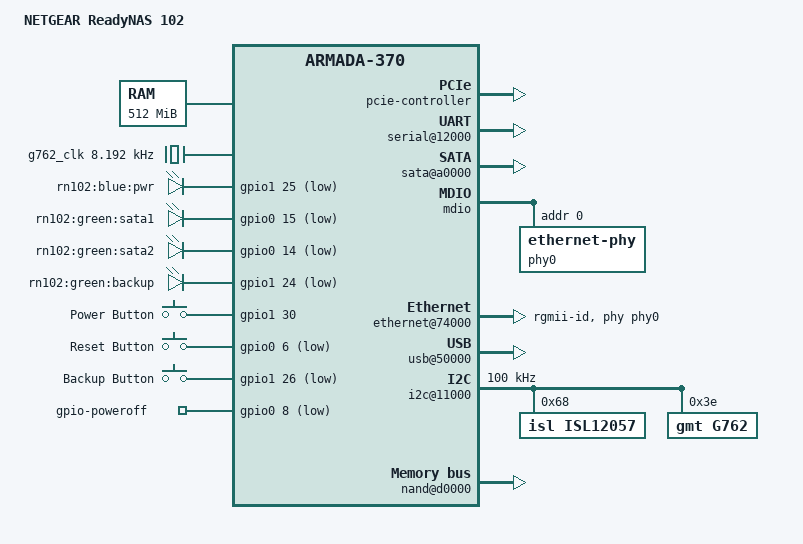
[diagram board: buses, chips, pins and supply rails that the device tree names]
/*
 * Device Tree file for NETGEAR ReadyNAS 102
 *
 * Copyright (C) 2013, Arnaud EBALARD <arno@natisbad.org>
 *
 * This program is free software; you can redistribute it and/or
 * modify it under the terms of the GNU General Public License
 * as published by the Free Software Foundation; either version
 * 2 of the License, or (at your option) any later version.
 */

/dts-v1/;

#include <dt-bindings/input/input.h>
#include <dt-bindings/gpio/gpio.h>
#include "armada-370.dtsi"

/ {
	model = "NETGEAR ReadyNAS 102";
	compatible = "netgear,readynas-102", "marvell,armada370", "marvell,armada-370-xp";

	chosen {
		bootargs = "console=ttyS0,115200 earlyprintk";
	};

	memory {
		device_type = "memory";
		reg = <0x00000000 0x20000000>; /* 512 MB */
	};

	soc {
		ranges = <MBUS_ID(0xf0, 0x01) 0 0xd0000000 0x100000
			  MBUS_ID(0x01, 0xe0) 0 0xfff00000 0x100000>;

		pcie-controller {
			status = "okay";

			/* Connected to Marvell SATA controller */
			pcie@1,0 {
				/* Port 0, Lane 0 */
				status = "okay";
			};

			/* Connected to FL1009 USB 3.0 controller */
			pcie@2,0 {
				/* Port 1, Lane 0 */
				status = "okay";
			};
		};

		internal-regs {
			serial@12000 {
				status = "okay";
			};

			sata@a0000 {
				nr-ports = <2>;
				status = "okay";
			};

			pinctrl {
				power_led_pin: power-led-pin {
					marvell,pins = "mpp57";
					marvell,function = "gpio";
				};

				sata1_led_pin: sata1-led-pin {
					marvell,pins = "mpp15";
					marvell,function = "gpio";
				};

				sata2_led_pin: sata2-led-pin {
					marvell,pins = "mpp14";
					marvell,function = "gpio";
				};

				backup_led_pin: backup-led-pin {
					marvell,pins = "mpp56";
					marvell,function = "gpio";
				};

				backup_button_pin: backup-button-pin {
					marvell,pins = "mpp58";
					marvell,function = "gpio";
				};

				power_button_pin: power-button-pin {
					marvell,pins = "mpp62";
					marvell,function = "gpio";
				};

				reset_button_pin: reset-button-pin {
					marvell,pins = "mpp6";
					marvell,function = "gpio";
				};

				poweroff: poweroff {
					marvell,pins = "mpp8";
					marvell,function = "gpio";
				};
			};

			mdio {
				phy0: ethernet-phy@0 { /* Marvell 88E1318 */
					reg = <0>;
				};
			};

			ethernet@74000 {
				status = "okay";
				phy = <&phy0>;
				phy-mode = "rgmii-id";
			};

			usb@50000 {
				status = "okay";
			};

			i2c@11000 {
				compatible = "marvell,mv64xxx-i2c";
				clock-frequency = <100000>;
				status = "okay";

				isl12057: isl12057@68 {
					compatible = "isl,isl12057";
					reg = <0x68>;
				};

				g762: g762@3e {
					compatible = "gmt,g762";
					reg = <0x3e>;
					clocks = <&g762_clk>; /* input clock */
					fan_gear_mode = <0>;
					fan_startv = <1>;
					pwm_polarity = <0>;
				};
			};

			nand@d0000 {
				status = "okay";
				num-cs = <1>;
				marvell,nand-keep-config;
				marvell,nand-enable-arbiter;
				nand-on-flash-bbt;

				/* Use Hardware BCH ECC */
				nand-ecc-strength = <4>;
				nand-ecc-step-size = <512>;

				partition@0 {
					label = "u-boot";
					reg = <0x0000000 0x180000>;  /* 1.5MB */
					read-only;
				};

				partition@180000 {
					label = "u-boot-env";
					reg = <0x180000 0x20000>;    /* 128KB */
					read-only;
				};

				partition@200000 {
					label = "uImage";
					reg = <0x0200000 0x600000>;    /* 6MB */
				};

				partition@800000 {
					label = "minirootfs";
					reg = <0x0800000 0x400000>;    /* 4MB */
				};

				/* Last MB is for the BBT, i.e. not writable */
				partition@c00000 {
					label = "ubifs";
					reg = <0x0c00000 0x7400000>; /* 116MB */
				};
			};
		};
	};

	clocks {
	       g762_clk: g762-oscillator {
			 compatible = "fixed-clock";
			 #clock-cells = <0>;
			 clock-frequency = <8192>;
	       };
	};

	gpio-leds {
		compatible = "gpio-leds";
		pinctrl-0 = <&power_led_pin
			     &sata1_led_pin
			     &sata2_led_pin
			     &backup_led_pin>;
		pinctrl-names = "default";

		blue-power-led {
			label = "rn102:blue:pwr";
			gpios = <&gpio1 25 GPIO_ACTIVE_LOW>;
			default-state = "keep";
		};

		green-sata1-led {
			label = "rn102:green:sata1";
			gpios = <&gpio0 15 GPIO_ACTIVE_LOW>;
			default-state = "on";
		};

		green-sata2-led {
			label = "rn102:green:sata2";
			gpios = <&gpio0 14 GPIO_ACTIVE_LOW>;
			default-state = "on";
		};

		green-backup-led {
			label = "rn102:green:backup";
			gpios = <&gpio1 24 GPIO_ACTIVE_LOW>;
			default-state = "on";
		};
	};

	gpio-keys {
		compatible = "gpio-keys";
		pinctrl-0 = <&power_button_pin
			     &reset_button_pin
			     &backup_button_pin>;
		pinctrl-names = "default";

		power-button {
			label = "Power Button";
			linux,code = <KEY_POWER>;
			gpios = <&gpio1 30 GPIO_ACTIVE_HIGH>;
		};

		reset-button {
			label = "Reset Button";
			linux,code = <KEY_RESTART>;
			gpios = <&gpio0 6 GPIO_ACTIVE_LOW>;
		};

		backup-button {
			label = "Backup Button";
			linux,code = <KEY_COPY>;
			gpios = <&gpio1 26 GPIO_ACTIVE_LOW>;
		};
	};

	gpio-poweroff {
		compatible = "gpio-poweroff";
		pinctrl-0 = <&poweroff>;
		pinctrl-names = "default";
		gpios = <&gpio0 8 GPIO_ACTIVE_LOW>;
	};
};
